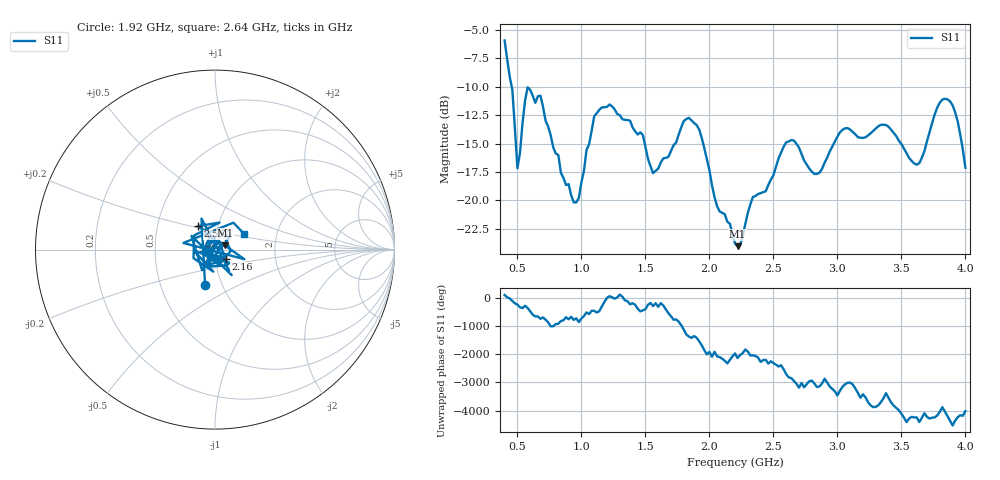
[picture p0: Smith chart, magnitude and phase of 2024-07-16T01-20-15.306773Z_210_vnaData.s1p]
!Created with skrf (http://scikit-rf.org).
# Hz S RI R 50.0
!freq ReS11 ImS11
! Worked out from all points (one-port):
!   181 points, 400 MHz to 4 GHz, reference 50 ohm
!   lowest |S11| = -24.1 dB at 2.22 GHz (marker M1), VSWR 1.13, Z = 56.1 + j2.65 ohm
!   |S11| at or under -10 dB: 455.9 MHz to end of sweep
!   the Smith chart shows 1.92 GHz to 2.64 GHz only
!   S11 on the Smith chart (normalised r, x): 1.92 GHz: 0.83, -0.34; 2.16 GHz: 1.12, -0.12; 2.56 GHz: 0.80, +0.21; 2.64 GHz: 1.36, +0.25
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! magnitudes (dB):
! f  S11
! 400 MHz  -5.9
! 460 MHz  -10.2
! 500 MHz  -17.2
! 580 MHz  -10.0
! 680 MHz  -10.8
! 860 MHz  -18.0
! 960 MHz  -20.2
! 1.1 GHz  -12.6
! 1.3 GHz  -12.5
! 1.48 GHz  -14.2
! 1.56 GHz  -17.6
! 1.76 GHz  -14.2
! 1.92 GHz  -13.8
! 2.06 GHz  -20.5
! 2.16 GHz  -22.1
! 2.2 GHz  -23.8
! 2.22 GHz  -24.1
! 2.56 GHz  -15.8
! 2.64 GHz  -14.7
! 2.66 GHz  -14.7
! 2.84 GHz  -17.7
! 3.1 GHz  -13.8
! 3.38 GHz  -13.4
! 3.56 GHz  -16.3
! 3.64 GHz  -16.7
! 3.84 GHz  -11.1
! 3.92 GHz  -12.2
! 4 GHz  -17.1
